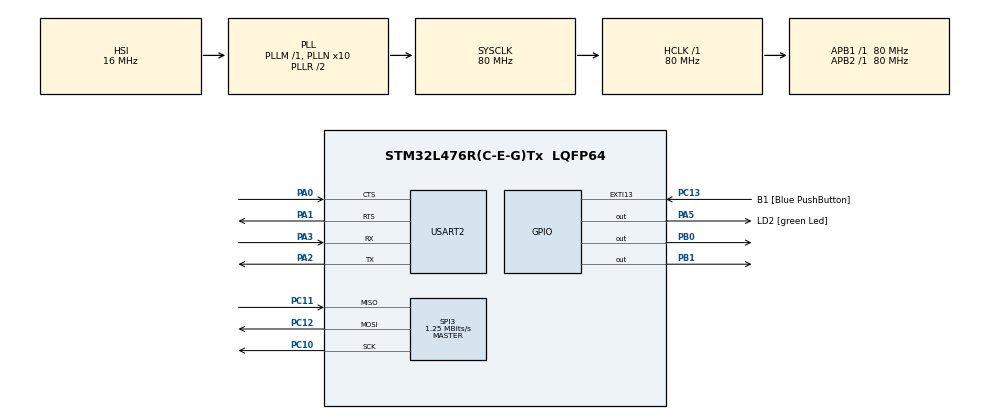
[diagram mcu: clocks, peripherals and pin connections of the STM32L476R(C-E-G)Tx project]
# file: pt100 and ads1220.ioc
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Mcu.Family=STM32L4
Mcu.Name=STM32L476R(C-E-G)Tx
Mcu.Package=LQFP64
NVIC.PriorityGroup=NVIC_PRIORITYGROUP_4
PA0.Mode=CTS_RTS
PA0.Signal=USART2_CTS
PA1.Mode=CTS_RTS
PA1.Signal=USART2_RTS
PA13\ (JTMS-SWDIO).GPIO_Label=TMS
PA13\ (JTMS-SWDIO).Mode=Serial_Wire
PA13\ (JTMS-SWDIO).Signal=SYS_JTMS-SWDIO
PA14\ (JTCK-SWCLK).GPIO_Label=TCK
PA14\ (JTCK-SWCLK).Mode=Serial_Wire
PA14\ (JTCK-SWCLK).Signal=SYS_JTCK-SWCLK
PA2.Mode=Asynchronous
PA2.Signal=USART2_TX
PA3.Mode=Asynchronous
PA3.Signal=USART2_RX
PA5.GPIO_Label=LD2 [green Led]
PA5.GPIO_ModeDefaultOutputPP=GPIO_MODE_OUTPUT_PP
PA5.GPIO_PuPd=GPIO_NOPULL
PA5.GPIO_Speed=GPIO_SPEED_FREQ_LOW
PA5.Signal=GPIO_Output
PB0.Signal=GPIO_Output
PB1.Signal=GPIO_Output
PB3\ (JTDO-TRACESWO).GPIO_Label=SWO
PB3\ (JTDO-TRACESWO).Signal=SYS_JTDO-SWO
PC10.Mode=Full_Duplex_Master
PC10.Signal=SPI3_SCK
PC11.Mode=Full_Duplex_Master
PC11.Signal=SPI3_MISO
PC12.Mode=Full_Duplex_Master
PC12.Signal=SPI3_MOSI
PC13.GPIO_Label=B1 [Blue PushButton]
PC13.GPIO_ModeDefaultEXTI=GPIO_MODE_IT_FALLING
PC13.GPIO_PuPd=GPIO_NOPULL
PC13.Signal=GPXTI13
PC14-OSC32_IN\ (PC14).Mode=LSE-External-Oscillator
PC14-OSC32_IN\ (PC14).Signal=RCC_OSC32_IN
PC15-OSC32_OUT\ (PC15).Mode=LSE-External-Oscillator
PC15-OSC32_OUT\ (PC15).Signal=RCC_OSC32_OUT
PH0-OSC_IN\ (PH0).Signal=RCC_OSC_IN
PH1-OSC_OUT\ (PH1).Signal=RCC_OSC_OUT
ProjectManager.HeapSize=0x200
ProjectManager.StackSize=0x400
ProjectManager.TargetToolchain=STM32CubeIDE
RCC.ADCFreq_Value=64000000
RCC.AHBFreq_Value=80000000
RCC.APB1Freq_Value=80000000
RCC.APB1TimFreq_Value=80000000
RCC.APB2Freq_Value=80000000
RCC.APB2TimFreq_Value=80000000
RCC.CortexFreq_Value=80000000
RCC.HCLKFreq_Value=80000000
RCC.HSE_VALUE=8000000
RCC.HSI_VALUE=16000000
RCC.MSI_VALUE=4000000
RCC.PLLN=10
RCC.PLLSourceVirtual=RCC_PLLSOURCE_HSI
RCC.PREFETCH_ENABLE=1
RCC.SYSCLKFreq_VALUE=80000000
RCC.SYSCLKSource=RCC_SYSCLKSOURCE_PLLCLK
RCC.USBFreq_Value=64000000
RCC.VCOOutputFreq_Value=160000000
SPI3.BaudRatePrescaler=SPI_BAUDRATEPRESCALER_64
SPI3.CLKPhase=SPI_PHASE_2EDGE
SPI3.CalculateBaudRate=1.25 MBits/s
SPI3.DataSize=SPI_DATASIZE_8BIT
SPI3.Direction=SPI_DIRECTION_2LINES
SPI3.Mode=SPI_MODE_MASTER
SPI3.VirtualType=VM_MASTER
USART2.VirtualMode-Asynchronous=VM_ASYNC
board=NUCLEO-L476RG

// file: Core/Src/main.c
/* USER CODE BEGIN Header */
/**
  ******************************************************************************
  * @file           : main.c
  * @brief          : Main program body
  ******************************************************************************
  * @attention
  *
  * Copyright (c) 2026 STMicroelectronics.
  * All rights reserved.
  *
  * This software is licensed under terms that can be found in the LICENSE file
  * in the root directory of this software component.
  * If no LICENSE file comes with this software, it is provided AS-IS.
  *
  ******************************************************************************
  */

/* USER CODE END Header */

//example command
#include "main.h"
#include"ads1220.h"
#include"PT100_Convert.h"
#include<stdio.h>
#include<string.h>
#include <stdint.h>

SPI_HandleTypeDef hspi3; //spi handler

UART_HandleTypeDef huart2;

/* USER CODE BEGIN PV */
uint32_t i=0;

int32_t adc_value = 0;

float ohms = 0.0f;
float temp = 0.0f;
float volt = 0.0f;
float vref = 0.0f;

/* USER CODE END PV */

void SystemClock_Config(void);
static void MX_GPIO_Init(void);
static void MX_SPI3_Init(void);
static void MX_USART2_UART_Init(void);

int main(void)
{

  /* MCU Configuration--------------------------------------------------------*/

  /* Reset of all peripherals, Initializes the Flash interface and the Systick. */

	HAL_Init();

  /* Configure the system clock */
  SystemClock_Config();

  /* Initialize all configured peripherals */

  MX_GPIO_Init();
  MX_SPI3_Init();
  MX_USART2_UART_Init();
  ADS1220_Init();

  /* Infinite loop */
  /* USER CODE BEGIN WHILE */

  ADS1220_CS_High();
     HAL_Delay(10);

  /*
     ADS1220_Reset();

     HAL_Delay(10);

     ADS1220_Init();
*/

  while (1)
  {
	  	  i++;
	  HAL_Delay(100);

	  if(i==50)
	  {
		  i=0;
		  HAL_GPIO_WritePin(GPIOA, GPIO_PIN_5, GPIO_PIN_SET);
		      HAL_Delay(500);

		      // LED OFF
		      HAL_GPIO_WritePin(GPIOA, GPIO_PIN_5, GPIO_PIN_RESET);
		      HAL_Delay(500);
      }

	  char msg[100];;

	  ADS1220_StartConversion();

	  adc_value = ADS1220_ReadADC();

	     sprintf(msg, "raw_adc_value= %lu\r\n",adc_value);
	     HAL_UART_Transmit(&huart2,(uint8_t *)msg,strlen(msg),100);

	  HAL_Delay(500);

	  vref=ADS1220_Calculate_VREF();

	  volt=ADS1220_ADC_To_Voltage(adc_value);

	  sprintf(msg,"Measured_Voltage= %f\r\n",volt);

	  HAL_UART_Transmit(&huart2,(uint8_t *)msg,strlen(msg),100);

	  ohms= ADS1220_Voltage_To_Resistance(volt);

	  sprintf(msg, "PT100 Resistance= %f\r\n",ohms);

	  HAL_Delay(500);

       HAL_UART_Transmit(&huart2,(uint8_t *)msg,strlen(msg),100);

	  HAL_Delay(500);

    /* USER CODE END WHILE */

  }
}

void SystemClock_Config(void)
{
  RCC_OscInitTypeDef RCC_OscInitStruct = {0};
  RCC_ClkInitTypeDef RCC_ClkInitStruct = {0};

  /** Configure the main internal regulator output voltage
  */
  if (HAL_PWREx_ControlVoltageScaling(PWR_REGULATOR_VOLTAGE_SCALE1) != HAL_OK)
  {
    Error_Handler();
  }

  /** Initializes the RCC Oscillators according to the specified parameters
  * in the RCC_OscInitTypeDef structure.
  */
  RCC_OscInitStruct.OscillatorType = RCC_OSCILLATORTYPE_HSI;
  RCC_OscInitStruct.HSIState = RCC_HSI_ON;
  RCC_OscInitStruct.HSICalibrationValue = RCC_HSICALIBRATION_DEFAULT;
  RCC_OscInitStruct.PLL.PLLState = RCC_PLL_ON;
  RCC_OscInitStruct.PLL.PLLSource = RCC_PLLSOURCE_HSI;
  RCC_OscInitStruct.PLL.PLLM = 1;
  RCC_OscInitStruct.PLL.PLLN = 10;
  RCC_OscInitStruct.PLL.PLLP = RCC_PLLP_DIV7;
  RCC_OscInitStruct.PLL.PLLQ = RCC_PLLQ_DIV2;
  RCC_OscInitStruct.PLL.PLLR = RCC_PLLR_DIV2;
  if (HAL_RCC_OscConfig(&RCC_OscInitStruct) != HAL_OK)
  {
    Error_Handler();
  }

  /** Initializes the CPU, AHB and APB buses clocks
  */
  RCC_ClkInitStruct.ClockType = RCC_CLOCKTYPE_HCLK|RCC_CLOCKTYPE_SYSCLK
                              |RCC_CLOCKTYPE_PCLK1|RCC_CLOCKTYPE_PCLK2;
  RCC_ClkInitStruct.SYSCLKSource = RCC_SYSCLKSOURCE_PLLCLK;
  RCC_ClkInitStruct.AHBCLKDivider = RCC_SYSCLK_DIV1;
  RCC_ClkInitStruct.APB1CLKDivider = RCC_HCLK_DIV1;
  RCC_ClkInitStruct.APB2CLKDivider = RCC_HCLK_DIV1;

  if (HAL_RCC_ClockConfig(&RCC_ClkInitStruct, FLASH_LATENCY_4) != HAL_OK)
  {
    Error_Handler();
  }
}

static void MX_SPI3_Init(void)
{

  /* SPI3 parameter configuration*/
  hspi3.Instance = SPI3;
  hspi3.Init.Mode = SPI_MODE_MASTER;
  hspi3.Init.Direction = SPI_DIRECTION_2LINES;
  hspi3.Init.DataSize = SPI_DATASIZE_8BIT;
  hspi3.Init.CLKPolarity = SPI_POLARITY_LOW;
  hspi3.Init.CLKPhase = SPI_PHASE_2EDGE;
  hspi3.Init.NSS = SPI_NSS_SOFT;
  hspi3.Init.BaudRatePrescaler = SPI_BAUDRATEPRESCALER_64;
  hspi3.Init.FirstBit = SPI_FIRSTBIT_MSB;
  hspi3.Init.TIMode = SPI_TIMODE_DISABLE;
  hspi3.Init.CRCCalculation = SPI_CRCCALCULATION_DISABLE;
  hspi3.Init.CRCPolynomial = 7;
  hspi3.Init.CRCLength = SPI_CRC_LENGTH_DATASIZE;
  hspi3.Init.NSSPMode = SPI_NSS_PULSE_DISABLE;
  if (HAL_SPI_Init(&hspi3) != HAL_OK)
  {
    Error_Handler();
  }

}

static void MX_USART2_UART_Init(void)
{

  huart2.Instance = USART2;
  huart2.Init.BaudRate = 115200;
  huart2.Init.WordLength = UART_WORDLENGTH_8B;
  huart2.Init.StopBits = UART_STOPBITS_1;
  huart2.Init.Parity = UART_PARITY_NONE;
  huart2.Init.Mode = UART_MODE_TX_RX;
  huart2.Init.HwFlowCtl = UART_HWCONTROL_RTS_CTS;
  huart2.Init.OverSampling = UART_OVERSAMPLING_16;
  huart2.Init.OneBitSampling = UART_ONE_BIT_SAMPLE_DISABLE;
  huart2.AdvancedInit.AdvFeatureInit = UART_ADVFEATURE_NO_INIT;
  if (HAL_UART_Init(&huart2) != HAL_OK)
  {
    Error_Handler();
  }

}

static void MX_GPIO_Init(void)
{
  GPIO_InitTypeDef GPIO_InitStruct = {0};

  /* GPIO Ports Clock Enable */
  __HAL_RCC_GPIOC_CLK_ENABLE();
  __HAL_RCC_GPIOH_CLK_ENABLE();
  __HAL_RCC_GPIOA_CLK_ENABLE();
  __HAL_RCC_GPIOB_CLK_ENABLE();

  /*Configure GPIO pin Output Level */
  HAL_GPIO_WritePin(LD2_GPIO_Port, LD2_Pin, GPIO_PIN_RESET);

  /*Configure GPIO pin Output Level */
  HAL_GPIO_WritePin(GPIOB, GPIO_PIN_0|GPIO_PIN_1, GPIO_PIN_RESET);

  /*Configure GPIO pin : B1_Pin */
  GPIO_InitStruct.Pin = B1_Pin;
  GPIO_InitStruct.Mode = GPIO_MODE_IT_FALLING;
  GPIO_InitStruct.Pull = GPIO_NOPULL;
  HAL_GPIO_Init(B1_GPIO_Port, &GPIO_InitStruct);

  /*Configure GPIO pin : LD2_Pin */
  GPIO_InitStruct.Pin = LD2_Pin;
  GPIO_InitStruct.Mode = GPIO_MODE_OUTPUT_PP;
  GPIO_InitStruct.Pull = GPIO_NOPULL;
  GPIO_InitStruct.Speed = GPIO_SPEED_FREQ_LOW;
  HAL_GPIO_Init(LD2_GPIO_Port, &GPIO_InitStruct);

  /*Configure GPIO pins : PB0 PB1 */
  GPIO_InitStruct.Pin = GPIO_PIN_0|GPIO_PIN_1;
  GPIO_InitStruct.Mode = GPIO_MODE_OUTPUT_PP;
  GPIO_InitStruct.Pull = GPIO_NOPULL;
  GPIO_InitStruct.Speed = GPIO_SPEED_FREQ_LOW;
  HAL_GPIO_Init(GPIOB, &GPIO_InitStruct);

}

void Error_Handler(void)
{
  __disable_irq();
  while (1)
  {
  }
}
